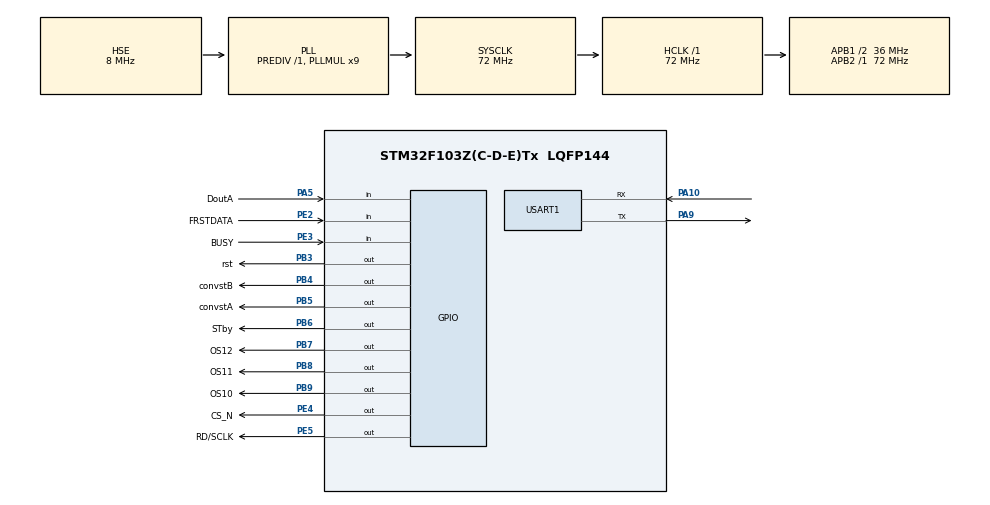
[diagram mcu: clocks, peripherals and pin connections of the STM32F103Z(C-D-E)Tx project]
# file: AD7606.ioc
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Mcu.Family=STM32F1
Mcu.Name=STM32F103Z(C-D-E)Tx
Mcu.Package=LQFP144
NVIC.PriorityGroup=NVIC_PRIORITYGROUP_4
NVIC.USART1_IRQn=true\:0\:0\:false\:false\:true\:true\:true\:true
OSC_IN.Mode=HSE-External-Oscillator
OSC_IN.Signal=RCC_OSC_IN
OSC_OUT.Mode=HSE-External-Oscillator
OSC_OUT.Signal=RCC_OSC_OUT
PA10.Mode=Asynchronous
PA10.Signal=USART1_RX
PA13.Mode=Serial_Wire
PA13.Signal=SYS_JTMS-SWDIO
PA14.Mode=Serial_Wire
PA14.Signal=SYS_JTCK-SWCLK
PA5.GPIO_Label=DoutA
PA5.Signal=GPIO_Input
PA9.Mode=Asynchronous
PA9.Signal=USART1_TX
PB3.GPIO_Label=rst
PB3.GPIO_Speed=GPIO_SPEED_FREQ_HIGH
PB3.Signal=GPIO_Output
PB4.GPIO_Label=convstB
PB4.GPIO_Speed=GPIO_SPEED_FREQ_HIGH
PB4.Signal=GPIO_Output
PB5.GPIO_Label=convstA
PB5.GPIO_Speed=GPIO_SPEED_FREQ_HIGH
PB5.Signal=GPIO_Output
PB6.GPIO_Label=STby
PB6.GPIO_Speed=GPIO_SPEED_FREQ_HIGH
PB6.Signal=GPIO_Output
PB7.GPIO_Label=OS12
PB7.GPIO_Speed=GPIO_SPEED_FREQ_HIGH
PB7.Signal=GPIO_Output
PB8.GPIO_Label=OS11
PB8.GPIO_Speed=GPIO_SPEED_FREQ_HIGH
PB8.Signal=GPIO_Output
PB9.GPIO_Label=OS10
PB9.GPIO_Speed=GPIO_SPEED_FREQ_HIGH
PB9.Signal=GPIO_Output
PC14-OSC32_IN.Mode=LSE-External-Oscillator
PC14-OSC32_IN.Signal=RCC_OSC32_IN
PC15-OSC32_OUT.Mode=LSE-External-Oscillator
PC15-OSC32_OUT.Signal=RCC_OSC32_OUT
PE2.GPIO_Label=FRSTDATA
PE2.Signal=GPIO_Input
PE3.GPIO_Label=BUSY
PE3.Signal=GPIO_Input
PE4.GPIO_Label=CS_N
PE4.GPIO_Speed=GPIO_SPEED_FREQ_HIGH
PE4.Signal=GPIO_Output
PE5.GPIO_Label=RD/SCLK
PE5.GPIO_Speed=GPIO_SPEED_FREQ_HIGH
PE5.Signal=GPIO_Output
ProjectManager.HeapSize=0x200
ProjectManager.StackSize=0x400
ProjectManager.TargetToolchain=STM32CubeIDE
RCC.AHBFreq_Value=72000000
RCC.APB1CLKDivider=RCC_HCLK_DIV2
RCC.APB1Freq_Value=36000000
RCC.APB1TimFreq_Value=72000000
RCC.APB2Freq_Value=72000000
RCC.APB2TimFreq_Value=72000000
RCC.HCLKFreq_Value=72000000
RCC.PLLMUL=RCC_PLL_MUL9
RCC.PLLSourceVirtual=RCC_PLLSOURCE_HSE
RCC.SYSCLKFreq_VALUE=72000000
RCC.SYSCLKSource=RCC_SYSCLKSOURCE_PLLCLK
RCC.USBFreq_Value=72000000
USART1.VirtualMode=VM_ASYNC
board=custom

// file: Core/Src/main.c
/* USER CODE BEGIN Header */
/**
  ******************************************************************************
  * @author         : JasperXzy
  * @file           : main.c
  * @brief          : Main program body
  ******************************************************************************
  * @attention
  *
  * Copyright (c) 2025 STMicroelectronics.
  * All rights reserved.
  *
  * This software is licensed under terms that can be found in the LICENSE file
  * in the root directory of this software component.
  * If no LICENSE file comes with this software, it is provided AS-IS.
  *
  ******************************************************************************
  */
/*
  rst 	 		  -> PB3
  convstB 	  -> PB4
  convstA 	  -> PB5
  STby 	      -> PB6
  OS12 	      -> PB7
  OS11 	      -> PB8
  OS1 	      -> PB9

  frstdata 	  -> PE2
  busy 	  		-> PE3
  cs	  			-> PE4
  rd 	  		  -> PE5

  DoutA(DB7)  -> PA5

  SER         -> 3.3V
  D15         -> 0 V
  */
/* USER CODE END Header */
#include "main.h"
#include "usart.h"
#include "gpio.h"

/* USER CODE BEGIN Includes */
#include "retarget.h"
#include "delay.h"
#include "AD7606.h"
/* USER CODE END Includes */

void SystemClock_Config(void);

int main(void)
{

  /* MCU Configuration--------------------------------------------------------*/

  /* Reset of all peripherals, Initializes the Flash interface and the Systick. */
  HAL_Init();

  /* Configure the system clock */
  SystemClock_Config();

  /* USER CODE BEGIN SysInit */
  RetargetInit(&huart1);
  /* USER CODE END SysInit */

  /* Initialize all configured peripherals */
  MX_GPIO_Init();
  MX_USART1_UART_Init();
  /* USER CODE BEGIN 2 */
  typedef enum
  { Bit_RESET = 0,
    Bit_SET
  }BitAction;
  uint8_t dis_buf[40];
  uint8_t i;
  uint8_t  temp;
  int16_t DB_data[8] = {0};

  PeripheralInit();
  /* USER CODE END 2 */

  /* Infinite loop */
  while (1)
  {

    /* USER CODE BEGIN 3 */
    AD7606_startconvst();
    temp = HAL_GPIO_ReadPin(GPIOE,GPIO_PIN_3);

    while((temp == Bit_SET))
    {
      delay_100ns();
      temp = HAL_GPIO_ReadPin(GPIOE,GPIO_PIN_3);
    }
    delay_us(1);
    AD7606_read_data(DB_data);

    for(i=0;i<8;i++)
    {
      printf((char*)dis_buf,"CH%1d:%8.1f mv  0x%04x %6d\r\n", i+1, (float)(DB_data[i]*5000.0/32768), (uint16_t)(DB_data[i]^0x8000), (uint16_t)(DB_data[i]^0x8000));
      delay_ms(50000);
    }
    delay_ms(50000);
  }
  /* USER CODE END 3 */
}

void SystemClock_Config(void)
{
  RCC_OscInitTypeDef RCC_OscInitStruct = {0};
  RCC_ClkInitTypeDef RCC_ClkInitStruct = {0};

  /** Initializes the RCC Oscillators according to the specified parameters
  * in the RCC_OscInitTypeDef structure.
  */
  RCC_OscInitStruct.OscillatorType = RCC_OSCILLATORTYPE_HSE;
  RCC_OscInitStruct.HSEState = RCC_HSE_ON;
  RCC_OscInitStruct.HSEPredivValue = RCC_HSE_PREDIV_DIV1;
  RCC_OscInitStruct.HSIState = RCC_HSI_ON;
  RCC_OscInitStruct.PLL.PLLState = RCC_PLL_ON;
  RCC_OscInitStruct.PLL.PLLSource = RCC_PLLSOURCE_HSE;
  RCC_OscInitStruct.PLL.PLLMUL = RCC_PLL_MUL9;
  if (HAL_RCC_OscConfig(&RCC_OscInitStruct) != HAL_OK)
  {
    Error_Handler();
  }

  /** Initializes the CPU, AHB and APB buses clocks
  */
  RCC_ClkInitStruct.ClockType = RCC_CLOCKTYPE_HCLK|RCC_CLOCKTYPE_SYSCLK
                              |RCC_CLOCKTYPE_PCLK1|RCC_CLOCKTYPE_PCLK2;
  RCC_ClkInitStruct.SYSCLKSource = RCC_SYSCLKSOURCE_PLLCLK;
  RCC_ClkInitStruct.AHBCLKDivider = RCC_SYSCLK_DIV1;
  RCC_ClkInitStruct.APB1CLKDivider = RCC_HCLK_DIV2;
  RCC_ClkInitStruct.APB2CLKDivider = RCC_HCLK_DIV1;

  if (HAL_RCC_ClockConfig(&RCC_ClkInitStruct, FLASH_LATENCY_2) != HAL_OK)
  {
    Error_Handler();
  }
}

/* USER CODE BEGIN 4 */
/**
  * @brief      : Peripheral initialization
  * @input      : None
  * @return     : None
  */
void PeripheralInit(void)
{
  delay_ms (500);
  GPIO_AD7606_Configuration();
  AD7606_Init();
  delay_ms (500);
}
/* USER CODE END 4 */

void Error_Handler(void)
{
  __disable_irq();
  while (1)
  {
  }
}
